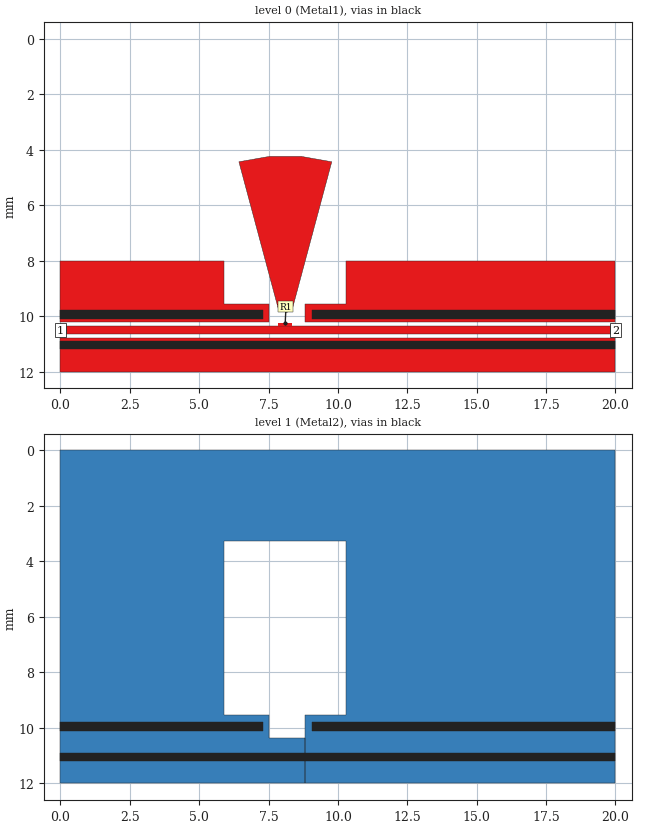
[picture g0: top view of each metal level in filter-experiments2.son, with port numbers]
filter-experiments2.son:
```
FTYP SONPROJ 18 ! Sonnet Project File
VER 17.56
HEADER
LIC antikernel2.1.50170 3cfdfeabd719 havequick azonenberg Level3Gold
DAT 02/13/2021 23:35:30
BUILT_BY_CREATED dxf 17.52.2 05/01/2020 05:35:06
BUILT_BY_SAVED sonnet 17.56
MDATE 02/13/2021 22:37:22
HDATE 02/13/2021 22:37:22
ANN Created by dxfgeo, Sonnet Software Inc.
END HEADER
DIM
ANG DEG
CAP PF
CON /OH
FREQ GHZ
IND NH
LNG MM
RES OH
END DIM
CONTROL
VARSWP
OPTIONS  -dj
SPEED 1
CACHE_ABS 1
Q_ACC N
END CONTROL
GEO
TMET "Free Space" 0 FREESPACE 376.7303136 0 0 0
BMET "Free Space" 0 FREESPACE 376.7303136 0 0 0
MET "Unknown_metal" 1 NOR INF 0.5 0 
MET "Copper 1oz thick" 2 TMM 58000000 0.5 0.035 2
MET "Nickel " 3 TMM 14300000 0.5 0.035 2
MET "Copper 0.5oz" 1 NOR 58000000 0.5 0.0175 
MET "Unknown_metal" 1 VOL INF 0
BRI "Alumina (96%)" 0 9.4 0.0004 0 
BRI "Alumina (99.5%)" 0 9.9 0.0001 0 
BRI "Aluminum Nitride" 0 8.6 0.0003 0 
BRI "Arlon 25FR" 0 3.58 0.0035 0 
BRI "Arlon 25N" 0 3.38 0.0025 0 
BRI "Arlon AD5" 0 5.1 0.003 0 
BRI "Arlon AD10" 0 10.2 0.005 0 
BRI "Arlon AD250" 0 2.5 0.0018 0 
BRI "Arlon AD255A" 0 2.55 0.0015 0 
BRI "Arlon AD260A" 0 2.6 0.0018 0 
BRI "Arlon AD270" 0 2.7 0.0023 0 
BRI "Arlon AD300A" 0 3 0.002 0 
BRI "Arlon AD320A" 0 3.2 0.0032 0 
BRI "Arlon AD350A" 0 3.5 0.003 0 
BRI "Arlon AD410" 0 4.1 0.003 0 
BRI "Arlon AD430" 0 4.3 0.003 0 
BRI "Arlon AD450" 0 4.5 0.0035 0 
BRI "Arlon AD600" 0 6.15 0.003 0 
BRI "Arlon AD1000" 0 10.2 0.0023 0 
BRI "Arlon AR1000" 0 9.8 0.003 0 
BRI "Arlon CLTE" 0 2.96 0.0023 0 
BRI "Arlon CLTE-AT" 0 3 0.0013 0 
BRI "Arlon CLTE-P" 0 2.94 0.0025 0 
BRI "Arlon CLTE-XT" 0 2.94 0.0012 0 
BRI "Arlon Cu 217LX" 0 2.17 0.0009 0 
BRI "Arlon Cu 233LX" 0 2.33 0.0013 0 
BRI "Arlon Cu 250GT" 0 2.5 0.001 0 
BRI "Arlon Cu 250GX" 0 2.5 0.0018 0 
BRI "Arlon Cu 6250" 0 2.32 0.0013 0 
BRI "Arlon Cu 6700" 0 2.35 0.0025 0 
BRI "Arlon Di 522" 0 2.5 0.001 0 
BRI "Arlon Di 527" 0 2.5 0.0018 0 
BRI "Arlon Di 870" 0 2.33 0.0013 0 
BRI "Arlon Di 880" 0 2.17 0.0009 0 
BRI "Arlon Iso 917" 0 2.17 0.0013 0 
BRI "Arlon Iso 933" 0 2.33 0.0016 0 
BRI "Arlon Multi HF" 0 3.7 0.004 0 
BRI "Arlon TC350" 0 3.5 0.002 0 
BRI "Arlon TC600" 0 6.15 0.002 0 
BRI "Beryllia (99.5%)" 0 6.5 0.0004 0 
BRI "CEM-1" 0 4.5 0.02 0 
BRI "CEM-3" 0 4.5 0.02 0 
BRI "Dupont 9K7" 0 7.1 0.0012 0 
BRI "Dupont 943" 0 7.4 0.002 0 
BRI "Dupont 951" 0 7.8 0.006 0 
BRI "Dupont FEP" 0 2 0.0005 0 
BRI "Dupont Vacrel" 0 3.8 0.011 0 
BRI "ESL 41010" 0 7.5 0.005 0 
BRI "ESL 41020" 0 7.25 0.005 0 
BRI "ESL 41050" 0 13.5 0.002 0 
BRI "ESL 41060" 0 16.5 0.002 0 
BRI "ESL 41110" 0 4.5 0.004 0 
BRI "Ferro A6M" 0 5.9 0.002 0 
BRI "Ferro A6S" 0 5.9 0.002 0 
BRI "Ferro L8" 0 7.3 0.0018 0 
BRI "FR-4" 0 4.4 0.02 0 
BRI "G-10" 0 4.8 0.025 0 
BRI "Gallium Arsenide" 0 12.9 0.006 0 
BRI "Gallium Nitride" 0 9.7 0 0 
BRI "Glass (Pyrex)" 0 4.82 0.0054 0 
BRI "Heraeus HL2000" 0 7.3 0.0026 0 
BRI "Isola 370HR" 0 4.04 0.021 0 
BRI "Isola FR408" 0 3.77 0.0116 0 
BRI "Isola FR408HR" 0 3.68 0.0092 0 
BRI "Isola Getek" 0 3.6 0.01 0 
BRI "Isola GI-180" 0 3.7 0.013 0 
BRI "Isola IS415" 0 3.82 0.0125 0 
BRI "Isola IS620i" 0 3.58 0.006 0 
BRI "Isola IS680-280" 0 2.8 0.0025 0 
BRI "Isola IS680-300" 0 3 0.003 0 
BRI "Isola IS680-320" 0 3.2 0.003 0 
BRI "Isola IS680-333" 0 3.33 0.003 0 
BRI "Isola IS680-338" 0 3.38 0.0032 0 
BRI "Isola IS680-345" 0 3.45 0.0036 0 
BRI "Kerafol CT800" 0 5.3 0.008 0 
BRI "Nelco MW9350" 0 3.7 0.004 0 
BRI "Nelco N4000-12" 0 3.7 0.008 0 
BRI "Nelco N4000-13" 0 3.7 0.009 0 
BRI "Nelco N4000-13SI" 0 3.2 0.007 0 
BRI "Nelco N4000-13EP" 0 3.7 0.008 0 
BRI "Nelco N4350-13RF" 0 3.5 0.0065 0 
BRI "Nelco N4380-13RF" 0 3.8 0.007 0 
BRI "Nelco N9300-13RF" 0 3 0.004 0 
BRI "Nelco N9320-13RF" 0 3.2 0.0045 0 
BRI "Nelco N9338-13RF" 0 3.38 0.0046 0 
BRI "Nelco N9350-13RF" 0 3.48 0.0055 0 
BRI "Nelco NH9294" 0 2.94 0.0022 0 
BRI "Nelco NH9300" 0 3 0.0023 0 
BRI "Nelco NH9320" 0 3.2 0.0024 0 
BRI "Nelco NH9338" 0 3.38 0.0025 0 
BRI "Nelco NH9348" 0 3.48 0.003 0 
BRI "Nelco NH9350" 0 3.5 0.003 0 
BRI "Nelco NH9410" 0 4.1 0.003 0 
BRI "Nelco NH9450" 0 4.5 0.003 0 
BRI "Nelco NX9240" 0 2.4 0.0016 0 
BRI "Nelco NX9245" 0 2.45 0.0016 0 
BRI "Nelco NX9250" 0 2.5 0.0017 0 
BRI "Nelco NX9255" 0 2.55 0.0018 0 
BRI "Nelco NX9260" 0 2.6 0.0019 0 
BRI "Nelco NY9208" 0 2.08 0.0006 0 
BRI "Nelco NY9217" 0 2.17 0.0008 0 
BRI "Nelco NY9220" 0 2.2 0.0009 0 
BRI "Nelco NY9233" 0 2.33 0.0011 0 
BRI "PET" 0 3.37 0.0208 0 
BRI "Polyimide" 0 3.5 0.003 0 
BRI "Quartz (Fused)" 0 3.78 0.0001 0 
BRI "Rogers 3001" 0 2.28 0.003 0 
BRI "Rogers RO2808" 0 7.6 0.0015 0 
BRI "Rogers RO3003" 0 3 0.0013 0 
BRI "Rogers RO3006" 0 6.5 0.002 0 
BRI "Rogers RO3010" 0 11.2 0.0022 0 
BRI "Rogers RO3035" 0 3.6 0.0018 0 
BRI "Rogers RO3203" 0 3.02 0.0016 0 
BRI "Rogers RO3206" 0 6.6 0.0027 0 
BRI "Rogers RO3210" 0 10.8 0.0027 0 
BRI "Rogers RO3730" 0 3 0.0016 0 
BRI "Rogers RO4003C" 0 3.55 0.0029 0 
BRI "Rogers RO4533" 0 3.45 0.0029 0 
BRI "Rogers RO4534" 0 3.4 0.003 0 
BRI "Rogers RO4350B" 0 3.66 0.0037 0 
BRI "Rogers RO4350BTX" 0 3.66 0.0034 0 
BRI "Rogers RO4360" 0 6.15 0.0038 0 
BRI "Rogers RO4450B-3.6" 0 3.3 0.0043 0 
BRI "Rogers RO4450B-4" 0 3.54 0.004 0 
BRI "Rogers RO4450F" 0 3.52 0.0041 0 
BRI "Rogers RO4730" 0 3 0.0033 0 
BRI "Rogers RT5870" 0 2.33 0.0012 0 
BRI "Rogers RT5880" 0 2.2 0.0009 0 
BRI "Rogers RT5880LZ" 0 1.96 0.0019 0 
BRI "Rogers RT6002" 0 2.94 0.0012 0 
BRI "Rogers RT6006" 0 6.15 0.0027 0 
BRI "Rogers RT6010LM" 0 10.9 0.0023 0 
BRI "Rogers RT6035HTC" 0 3.6 0.0013 0 
BRI "Rogers RT6202" 0 2.94 0.0015 0 
BRI "Rogers RT6202PR" 0 2.95 0.0015 0 
BRI "Rogers Syron7000" 0 3.4 0.0045 0 
BRI "Rogers Syron7100-2" 0 3.61 0.006 0 
BRI "Rogers Syron7100-4" 0 3.39 0.005 0 
BRI "Rogers Theta" 0 4.01 0.0118 0 
BRI "Rogers TMM 3" 0 3.39 0.002 0 
BRI "Rogers TMM 4" 0 4.5 0.002 0 
BRI "Rogers TMM 6" 0 6 0.0023 0 
BRI "Rogers TMM 10" 0 9.56 0.0022 0 
BRI "Rogers TMM 10i" 0 9.96 0.002 0 
BRI "Rogers UL2000" 0 2.5 0.0019 0 
BRI "Rogers UL3850" 0 3.05 0.0025 0 
BRI "Rogers UL3908" 0 2.9 0.0025 0 
BRI "Rogers XT8000" 0 3.34 0.0035 0 
BRI "Rogers XT8100-2" 0 3.54 0.0049 0 
BRI "Rogers XT8100-4" 0 3.32 0.0038 0 
BRI "Silicon (intrinsic)" 0 11.9 0.004 0.00044 
BRI "Silicon Dioxide" 0 3.9 0 0 
BRI "Silicon Nitride" 0 7.5 0 0 
BRI "Taconic CER-10" 0 10 0.0035 0 
BRI "Taconic FastFilm" 0 2.7 0.0012 0 
BRI "Taconic Fastrise-DS" 0 2.96 0.0018 0 
BRI "Taconic Fastrise27" 0 2.7 0.0014 0 
BRI "Taconic Fastrise77" 0 7.7 0.0034 0 
BRI "Taconic FEP" 0 2 0.0003 0 
BRI "Taconic RF-30" 0 3 0.0014 0 
BRI "Taconic RF-35" 0 3.5 0.0018 0 
BRI "Taconic RF-35A2" 0 3.5 0.0011 0 
BRI "Taconic RF-35P" 0 3.5 0.0025 0 
BRI "Taconic RF-41" 0 4.1 0.0038 0 
BRI "Taconic RF-43" 0 4.3 0.0033 0 
BRI "Taconic RF-45" 0 4.5 0.0037 0 
BRI "Taconic RF-60A" 0 6.15 0.0038 0 
BRI "Taconic RF-301" 0 2.97 0.0012 0 
BRI "Taconic TacBond HT" 0 2.35 0.0025 0 
BRI "Taconic TLA-6" 0 2.62 0.0012 0 
BRI "Taconic TLC-27" 0 2.75 0.003 0 
BRI "Taconic TLC-30" 0 3 0.003 0 
BRI "Taconic TLC-32" 0 3.2 0.003 0 
BRI "Taconic TLE-95" 0 2.95 0.0028 0 
BRI "Taconic TLF-34" 0 3.4 0.002 0 
BRI "Taconic TLF-35" 0 3.5 0.002 0 
BRI "Taconic TLP-3" 0 2.33 0.0009 0 
BRI "Taconic TLP-5" 0 2.2 0.0009 0 
BRI "Taconic TLP-5A" 0 2.17 0.0009 0 
BRI "Taconic TLT-0" 0 2.45 0.0006 0 
BRI "Taconic TLT-9" 0 2.5 0.0006 0 
BRI "Taconic TLT-8" 0 2.55 0.0006 0 
BRI "Taconic TLT-7" 0 2.6 0.0006 0 
BRI "Taconic TLT-6" 0 2.65 0.0006 0 
BRI "Taconic TLX-0" 0 2.45 0.0019 0 
BRI "Taconic TLX-9" 0 2.5 0.0019 0 
BRI "Taconic TLX-8" 0 2.55 0.0019 0 
BRI "Taconic TLX-7" 0 2.6 0.0019 0 
BRI "Taconic TLX-6" 0 2.65 0.0019 0 
BRI "Taconic TLY-3" 0 2.33 0.0009 0 
BRI "Taconic TLY-3F" 0 2.33 0.0009 0 
BRI "Taconic TLY-5" 0 2.2 0.0009 0 
BRI "Taconic TLY-5-L" 0 2.2 0.0009 0 
BRI "Taconic TLY-5A" 0 2.17 0.0009 0 
BRI "Taconic TLY-5A-L" 0 2.17 0.0009 0 
BRI "Taconic TPG-30" 0 3 0.0038 0 
BRI "Taconic TPG-32" 0 3.2 0.005 0 
BRI "Taconic TPG-35" 0 3.5 0.005 0 
BRI "Taconic TRF-41" 0 4.1 0.0035 0 
BRI "Taconic TRF-43" 0 4.3 0.0035 0 
BRI "Taconic TRF-45" 0 4.5 0.0035 0 
BRI "Taconic TSM-DS" 0 2.85 0.001 0 
BRI "Taconic TSM-DS3" 0 3 0.0011 0 
BRI "Taconic TSM-26" 0 2.6 0.0014 0 
BRI "Taconic TSM-29" 0 2.94 0.0013 0 
BRI "Taconic TSM-30" 0 3 0.0013 0 
BRI "Teflon (PTFE)" 0 2.08 0.0004 0 
BOX 2 20 12 800 480 20 0
      1 1 1 0 0 0 0 "Air"
      0.16 3.6 1 0.0092 0 0 0 "Isola FR408HR"
      1 1 1 0 0 0 0 "Air"
TECHLAY METAL Metal1 BLACK -2 0 
0 0 1 N 1800 1 1 100 100 0 0 0 Y
END
END
TECHLAY VIA Via1 <UNSPECIFIED> -4 0 
VIA POLYGON
1 0 -1 N 1807 1 1 100 100 0 0 0 Y
TOLEVEL 0 RING NOCOVERS
END
END
TECHLAY METAL Metal2 <UNSPECIFIED> -3 0 
1 0 3 N 1809 1 1 100 100 0 0 0 Y
END
END
DIM STD YDIR -1
POS -0.1866117808 -0.1161684472
NOM 0.15
REF1 POLY 223 1
1
REF2 POLY 1564 1
4
END
DIM STD YDIR -1
POS -0.7617802641 -0.5470837043
NOM 0.6
REF1 POLY 221 1
1
REF2 POLY 1564 1
4
END
VALVAR WIDTH LNG 0.3 "Dim. Param."
DIM STD YDIR 1
POS -0.1438465811 0.100258094
NOM 0.15
REF1 POLY 223 1
2
REF2 POLY 221 1
1
END
LORGN 0 12 U 
POR1 BOX
POLY 223 1
1
1 50 0 0 0 0 10.5 
POR1 BOX
POLY 223 1
3
2 50 0 0 0 20 10.5 
SMD 0 "R1"
ID 1567
GNDREF AUTO
SBOX 7.991275 8.230425 9.891275 10.130425
PBSHW N
LPOS 8.11085 9.891275
TYPE SPARAM 1
SMDP 0 8.1217 9.7717 T 3 1 
EXSMDP
GNDREF AUTO
TERMW FEED
END EXSMDP
SMDP 0 8.1 10.25 B 4 2 
EXSMDP
GNDREF AUTO
TERMW FEED
END EXSMDP
END
NUM 10
0 5 1 N 221 1 1 100 100 0 0 0 Y
TLAYNAM Metal1 INH
20 10.8
0 10.8
0 12
20 12
20 10.8
END
0 5 1 N 223 1 1 100 100 0 0 0 Y
TLAYNAM Metal1 INH
20 10.35
0 10.35
0 10.65
20 10.65
20 10.35
END
0 5 1 N 1306 1 1 100 100 0 0 0 Y
TLAYNAM Metal1 INH
7.85 10.25
8.35 10.25
8.35 10.35
7.85 10.35
7.85 10.25
END
0 7 1 N 1563 1 1 100 100 0 0 0 Y
TLAYNAM Metal1 INH
20 8
10.3 8
10.3 9.55
8.8 9.55
8.8 10.2
20 10.2
20 8
END
0 9 1 N 1564 1 1 100 100 0 0 0 Y
TLAYNAM Metal1 INH
7.5 9.55
5.9 9.55
5.9 8
0 8
0 10.2
7.25 10.2
7.25 10.2
7.5 10.2
7.5 9.55
END
0 7 1 N 1579 1 1 100 100 0 0 0 Y
TLAYNAM Metal1 INH
7.854155 9.754155
8.354155 9.754155
9.77766 4.44156
8.667695 4.245845
7.54061 4.245845
6.43065 4.44156
7.854155 9.754155
END
VIA POLYGON
0 5 -1 N 1016 1 1 100 100 0 0 0 Y
TOLEVEL 1 RING NOCOVERS
0 9.8
7.3 9.8
7.3 10.1
0 10.1
0 9.8
END
VIA POLYGON
0 5 -1 N 1019 1 1 100 100 0 0 0 Y
TOLEVEL 1 RING NOCOVERS
9.05 9.8
20 9.8
20 10.1
9.05 10.1
9.05 9.8
END
VIA POLYGON
0 5 -1 N 1020 1 1 100 100 0 0 0 Y
TOLEVEL 1 RING NOCOVERS
-3.330669074e-16 10.9
20 10.9
20 11.2
-3.330669074e-16 11.2
-3.330669074e-16 10.9
END
1 18 3 N 1576 1 1 100 100 0 0 0 Y
TLAYNAM Metal2 INH
20 2
20 0
0 0
0 2
0 12
8.8 12
8.8 10.35
7.5 10.35
7.5 9.55
5.9 9.55
5.9 3.25
10.3 3.25
10.3 9.55
8.8 9.55
8.8 10.35
8.8 12
20 12
20 2
END
END GEO
OPT
MAX 100
END OPT
VARSWP
ENABLED Y
FREQ Y AY ABS_ENTRY 0.1 10.0 -1 300 
VAR WIDTH Y 0.5 1.0 0.1
END
END VARSWP
3DOPTIONS
GLOBAL 5
ALL 3 1
END 3DOPTIONS
SMDFILES
1 "../../../../../../../bulk/datasheets/Vishay/Resistors/FC/0402/FC0402-FlipChip-100 Ohm.s2p"
END SMDFILES
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```
